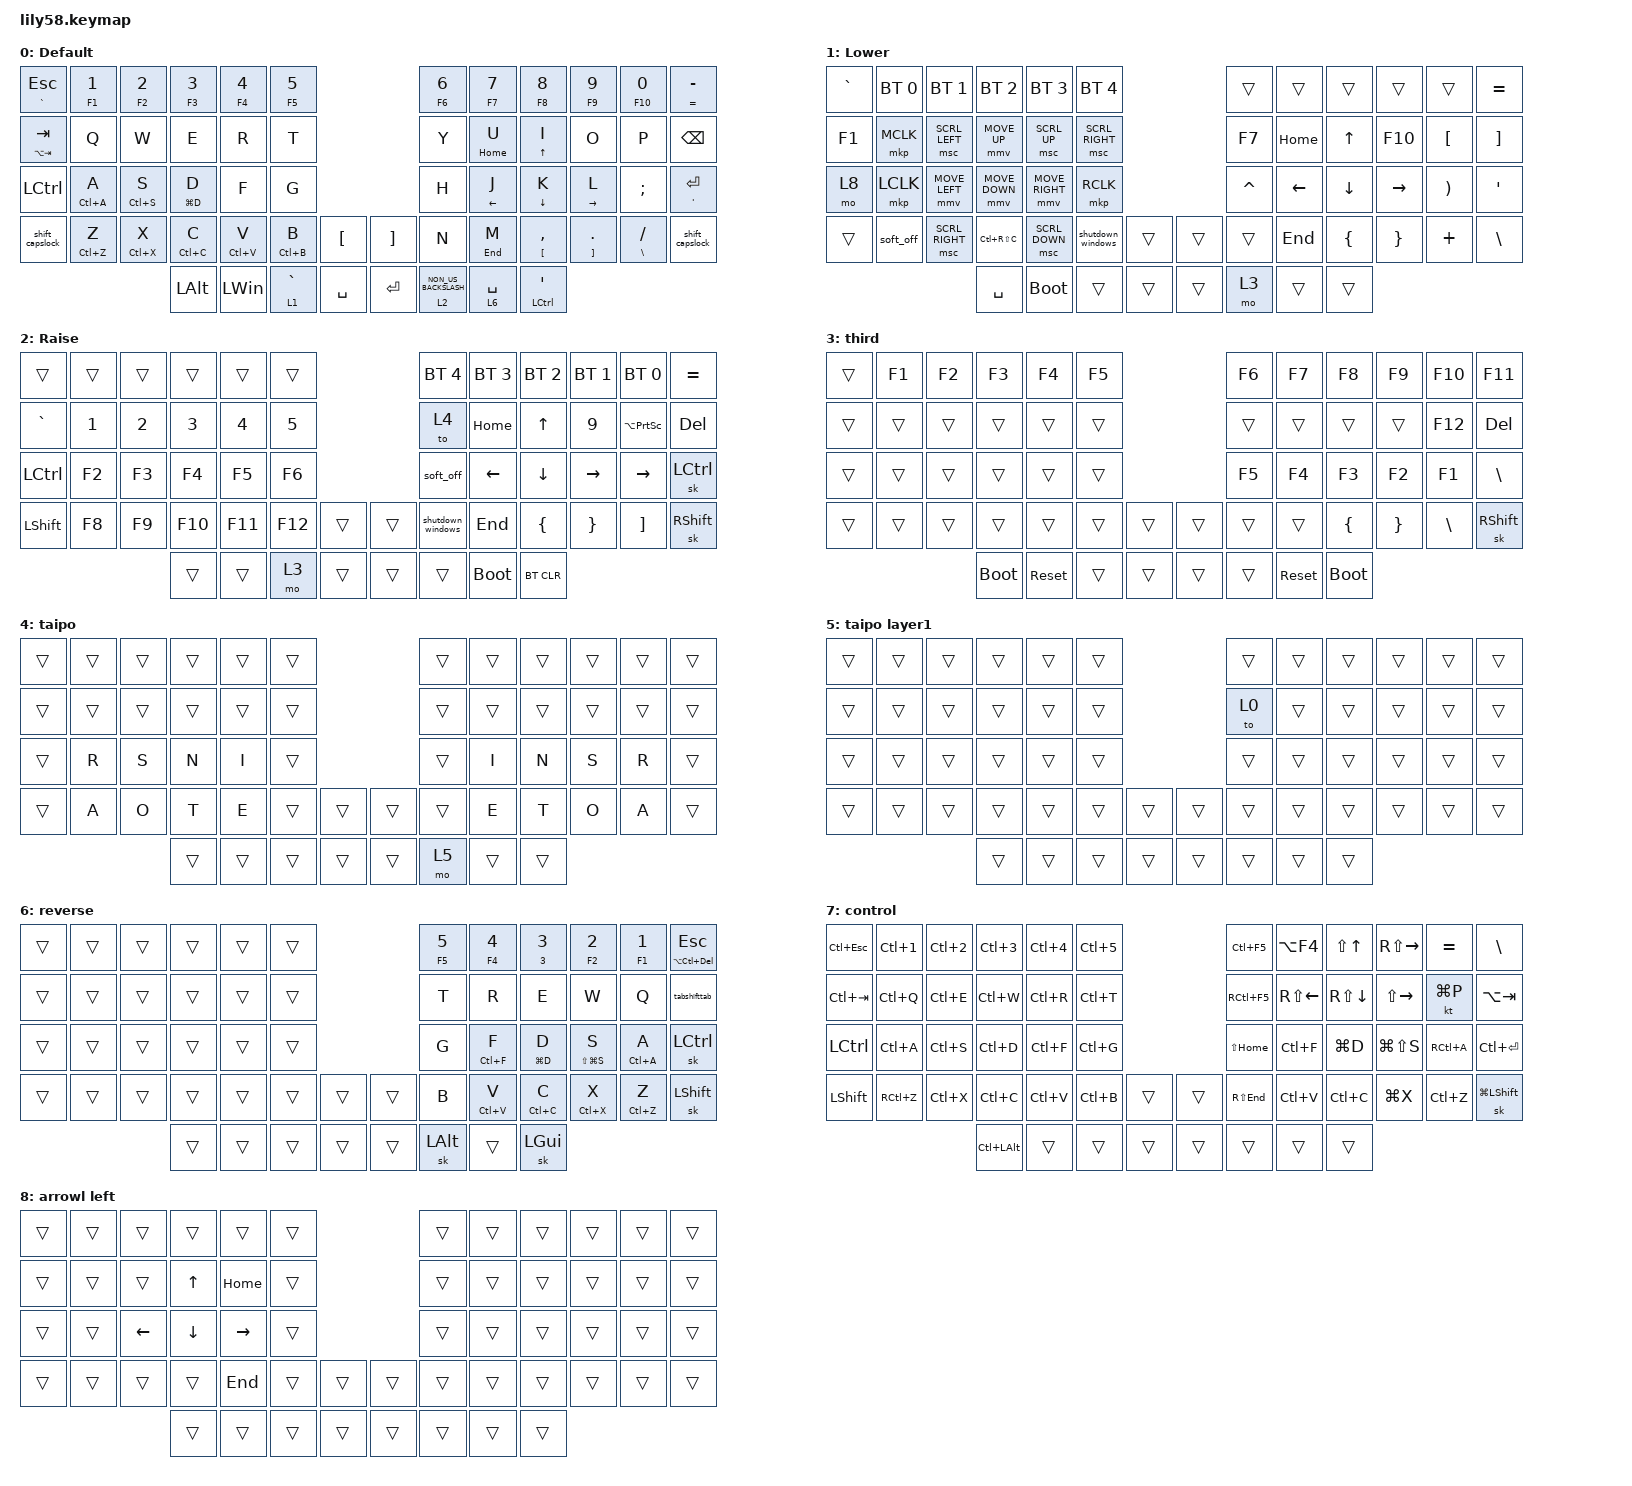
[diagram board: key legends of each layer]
/*
 * Copyright (c) 2020 The ZMK Contributors
 *
 * SPDX-License-Identifier: MIT
 */

#include <behaviors.dtsi>
#include <dt-bindings/zmk/bt.h>
#include <dt-bindings/zmk/keys.h>
#include <dt-bindings/zmk/pointing.h>

&sk { release-after-ms = <10000>; };

&mt {
    flavor = "tap-preferred";
    tapping-term-ms = <300>;
};

&lt { tapping-term-ms = <300>; };

/ {
    macros {
        shutdown_windows: shutdown_windows {
            compatible = "zmk,behavior-macro";
            #binding-cells = <0>;
            bindings = <&kp LG(X) &kp U &kp S>;
            label = "SHUTDOWN_WINDOWS";
            wait-ms = <100>;
        };
    };

    combos {
        compatible = "zmk,combos";

        combo_right {
            bindings = <&kp RIGHT>;
            key-positions = <28 27>;
            layers = <0>;
            require-prior-idle-ms = <300>;
        };

        combo_left {
            bindings = <&kp LEFT_ARROW>;
            key-positions = <26 27>;
            layers = <0>;
            require-prior-idle-ms = <300>;
        };

        combo_down {
            bindings = <&kp DOWN>;
            key-positions = <26 27 28>;
            layers = <0>;
            require-prior-idle-ms = <300>;
        };

        combo_up {
            bindings = <&kp UP_ARROW>;
            key-positions = <28 15>;
            layers = <0>;
            require-prior-idle-ms = <300>;
        };

        cb_home {
            bindings = <&kp HOME>;
            key-positions = <16 15>;
            layers = <0>;
            require-prior-idle-ms = <300>;
        };

        cb_end {
            bindings = <&kp END>;
            key-positions = <40 39>;
            layers = <0>;
            require-prior-idle-ms = <300>;
        };

        cb_left {
            bindings = <&kp LEFT>;
            key-positions = <31 32>;
            layers = <0>;
            require-prior-idle-ms = <300>;
        };

        cb_right {
            bindings = <&kp RIGHT>;
            key-positions = <33 32>;
            layers = <0>;
            require-prior-idle-ms = <300>;
        };

        cb_down {
            bindings = <&kp DOWN>;
            key-positions = <32 33 31>;
            layers = <0>;
            require-prior-idle-ms = <300>;
        };

        cb_up {
            bindings = <&kp UP_ARROW>;
            key-positions = <31 20>;
            layers = <0>;
            require-prior-idle-ms = <300>;
        };

        cb_home1 {
            bindings = <&kp HOME>;
            key-positions = <19 20>;
            layers = <0>;
            require-prior-idle-ms = <300>;
        };

        cb_end1 {
            bindings = <&kp END>;
            key-positions = <45 46>;
            layers = <0>;
            require-prior-idle-ms = <300>;
        };

        winshifts {
            bindings = <&kp LS(RG(S))>;
            key-positions = <25 26>;
            layers = <0>;
            require-prior-idle-ms = <500>;
        };

        cb_delete {
            bindings = <&kp DEL>;
            key-positions = <33 34>;
            layers = <0>;
        };

        indexquote {
            bindings = <&kp SINGLE_QUOTE>;
            key-positions = <35 31>;
            layers = <0>;
        };

        thumbquote {
            bindings = <&kp SINGLE_QUOTE>;
            key-positions = <35 56>;
            layers = <0>;
        };

        f11 {
            bindings = <&kp F11>;
            key-positions = <2 3>;
            layers = <0>;
        };

        f12 {
            bindings = <&kp F12>;
            key-positions = <3 4>;
            layers = <0>;
        };

        alttab {
            bindings = <&kp LA(TAB)>;
            key-positions = <50 12>;
            layers = <0>;
        };

        btclearleft {
            bindings = <&bt BT_CLR>;
            key-positions = <50 51 52>;
            layers = <0>;
        };

        btclearright {
            bindings = <&bt BT_CLR>;
            key-positions = <55 56 57>;
            layers = <0>;
        };

        cb_ctrl_alt_delete {
            bindings = <&kp LA(LC(DELETE))>;
            key-positions = <23 31>;
            layers = <0>;
        };

        cbwin_p {
            bindings = <&kp LG(P)>;
            key-positions = <31 22>;
            layers = <0>;
            require-prior-idle-ms = <125>;
        };

        shift_tab {
            bindings = <&kp LS(TAB)>;
            key-positions = <28 12>;
            require-prior-idle-ms = <125>;
            layers = <0>;
        };

        move_windows_left {
            bindings = <&kp LS(LG(LEFT))>;
            key-positions = <31 32>;
            layers = <2>;
        };

        move_windows_right {
            bindings = <&kp LS(LG(RIGHT))>;
            key-positions = <32 33>;
            layers = <2>;
        };
    };

    behaviors {
        backspace_delete: backspace_delete {
            compatible = "zmk,behavior-tap-dance";
            label = "BACKSPACE_DELETE";
            #binding-cells = <0>;
            bindings = <&kp BACKSPACE>, <&mt DELETE BACKSPACE>;
        };

        mouse_and_layer: mouse_and_layer {
            compatible = "zmk,behavior-hold-tap";
            label = "MOUSE_AND_LAYER";
            bindings = <&mo>, <&mkp>;

            #binding-cells = <2>;
            tapping-term-ms = <(-1)>;
            flavor = "tap-preferred";
        };

        shift_capslock: shift_capslock {
            compatible = "zmk,behavior-tap-dance";
            label = "SHIFT_CAPSLOCK";
            #binding-cells = <0>;
            bindings = <&kp LEFT_SHIFT>, <&kt CAPS>;
        };

        s_wins: s_wins {
            compatible = "zmk,behavior-tap-dance";
            label = "S_WINS";
            #binding-cells = <0>;
            bindings = <&mt LC(S) S>, <&mt LS(LG(S)) LS(LG(S))>;
        };

        tabshifttab: tabshifttab {
            compatible = "zmk,behavior-tap-dance";
            label = "TABSHIFTTAB";
            #binding-cells = <0>;
            bindings = <&mt LA(TAB) TAB>, <&mt LS(LA(TAB)) LS(TAB)>;
        };
    };

    keymap {
        compatible = "zmk,keymap";

        default_layer {
            display-name = "Default";

            // ------------------------------------------------------------------------------------------------------------
            // |  ESC  |  1  |  2  |  3   |  4   |  5   |                   |  6   |  7    |  8    |  9   |   0   |   `   |
            // |  TAB  |  Q  |  W  |  E   |  R   |  T   |                   |  Y   |  U    |  I    |  O   |   P   |   -   |
            // |  CTRL |  A  |  S  |  D   |  F   |  G   |                   |  H   |  J    |  K    |  L   |   ;   |   '   |
            // | SHIFT |  Z  |  X  |  C   |  V   |  B   |   "["  |  |  "]"  |  N   |  M    |  ,    |  .   |   /   | SHIFT |
            //                     | ALT  | GUI  | LOWER|  SPACE |  | ENTER | RAISE| BSPC  | GUI   |

            bindings = <
&mt GRAVE ESCAPE  &mt F1 NUMBER_1  &mt F2 NUMBER_2  &mt F3 NUMBER_3  &mt F4 NUMBER_4  &mt F5 N5                           &mt F6 NUMBER_6         &mt F7 N7         &mt F8 NUMBER_8         &mt F9 N9                 &mt F10 NUMBER_0     &mt EQUAL MINUS
&mt LA(TAB) TAB   &kp Q            &kp W            &kp E            &kp R            &kp T                               &kp Y                   &mt HOME U        &mt UP_ARROW I          &kp O                     &kp P                &kp BACKSPACE
&kp LCTRL         &mt LC(A) A      &mt LC(S) S      &mt LG(D) D      &kp F            &kp G                               &kp H                   &mt LEFT_ARROW J  &mt DOWN_ARROW K        &mt RIGHT L               &kp SEMI             &mt APOSTROPHE ENTER
&shift_capslock   &mt LC(Z) Z      &mt LC(X) X      &mt LC(C) C      &mt LC(V) V      &mt LC(B) B  &kp LBKT     &kp RBKT  &kp N                   &mt END M         &mt LEFT_BRACKET COMMA  &mt RIGHT_BRACKET PERIOD  &mt BACKSLASH SLASH  &shift_capslock
                                                    &kp LALT         &kp LEFT_WIN     &lt 1 GRAVE  &kp SPACE    &kp RET   &lt 2 NON_US_BACKSLASH  &lt 6 SPACE       &mt LEFT_CONTROL SQT
            >;
        };

        lower_layer {
            display-name = "Lower";

            // ------------------------------------------------------------------------------------------------------------
            // | BTCLR | BT1 | BT2 |  BT3 |  BT4 |  BT5 |                   |      |       |       |      |       |       |
            // |  F1   |  F2 |  F3 |  F4  |  F5  |  F6  |                   |  F7  |  F8   |  F9   |  F10 |  F11  |  F12  |
            // |   `   |  !  |  @  |  #   |  $   |  %   |                   |  ^   |  &    |  *    |  (   |   )   |   ~   |
            // |       |     |     |      |      |      |        |  |       |      |  _    |  +    |  {   |   }   |  "|"  |
            //                     |      |      |      |        |  |       |      |       |       |

            bindings = <
&kp GRAVE  &bt BT_SEL 0  &bt BT_SEL 1     &bt BT_SEL 2    &bt BT_SEL 3     &bt BT_SEL 4                         &trans     &trans    &trans          &trans           &trans            &kp EQUAL
&kp F1     &mkp MCLK     &msc SCRL_LEFT   &mmv MOVE_UP    &msc SCRL_UP     &msc SCRL_RIGHT                      &kp F7     &kp HOME  &kp UP_ARROW    &kp F10          &kp LEFT_BRACKET  &kp RIGHT_BRACKET
&mo 8      &mkp LCLK     &mmv MOVE_LEFT   &mmv MOVE_DOWN  &mmv MOVE_RIGHT  &mkp RCLK                            &kp CARET  &kp LEFT  &kp DOWN        &kp RIGHT        &kp RPAR          &kp SQT
&trans     &soft_off     &msc SCRL_RIGHT  &kp LC(RS(C))   &msc SCRL_DOWN   &shutdown_windows  &trans    &trans  &trans     &kp END   &kp LEFT_BRACE  &kp RIGHT_BRACE  &kp PLUS          &kp BACKSLASH
                                          &kp SPACE       &bootloader      &trans             &trans    &trans  &mo 3      &trans    &trans
            >;
        };

        raise_layer {
            display-name = "Raise";

            // ------------------------------------------------------------------------------------------------------------
            // |       |     |     |      |      |      |                   |      |       |       |      |       |       |
            // |   `   |  1  |  2  |  3   |  4   |  5   |                   |  6   |   7   |   8   |  9   |   0   |       |
            // |   F1  |  F2 |  F3 |  F4  |  F5  |  F6  |                   |      |   <-  |   v   |  ^   |  ->   |       |
            // |   F7  |  F8 |  F9 |  F10 |  F11 |  F12 |        |  |       |  +   |   -   |   =   |  [   |   ]   |   \   |
            //                     |      |      |      |        |  |       |      |       |       |

            bindings = <
&trans            &trans  &trans  &trans   &trans   &trans                     &bt BT_SEL 4       &bt BT_SEL 3  &bt BT_SEL 2    &bt BT_SEL 1     &bt BT_SEL 0         &kp EQUAL
&kp GRAVE         &kp N1  &kp N2  &kp N3   &kp N4   &kp N5                     &to 4              &kp HOME      &kp UP          &kp N9           &kp LA(PRINTSCREEN)  &kp DELETE
&kp LEFT_CONTROL  &kp F2  &kp F3  &kp F4   &kp F5   &kp F6                     &soft_off          &kp LEFT      &kp DOWN        &kp RIGHT        &kp RIGHT            &sk LEFT_CONTROL
&kp LEFT_SHIFT    &kp F8  &kp F9  &kp F10  &kp F11  &kp F12  &trans    &trans  &shutdown_windows  &kp END       &kp LEFT_BRACE  &kp RIGHT_BRACE  &kp RBKT             &sk RIGHT_SHIFT
                                  &trans   &trans   &mo 3    &trans    &trans  &trans             &bootloader   &bt BT_CLR
            >;
        };

        third {
            bindings = <
&trans  &kp F1  &kp F2  &kp F3       &kp F4      &kp F5                    &kp F6  &kp F7      &kp F8          &kp F9           &kp F10        &kp F11
&trans  &trans  &trans  &trans       &trans      &trans                    &trans  &trans      &trans          &trans           &kp F12        &kp DELETE
&trans  &trans  &trans  &trans       &trans      &trans                    &kp F5  &kp F4      &kp F3          &kp F2           &kp F1         &kp BACKSLASH
&trans  &trans  &trans  &trans       &trans      &trans  &trans    &trans  &trans  &trans      &kp LEFT_BRACE  &kp RIGHT_BRACE  &kp BACKSLASH  &sk RIGHT_SHIFT
                        &bootloader  &sys_reset  &trans  &trans    &trans  &trans  &sys_reset  &bootloader
            >;

            label = "third";
        };

        taipo {
            bindings = <
&trans  &trans  &trans  &trans  &trans  &trans                    &trans  &trans  &trans  &trans  &trans  &trans
&trans  &trans  &trans  &trans  &trans  &trans                    &trans  &trans  &trans  &trans  &trans  &trans
&trans  &kp R   &kp S   &kp N   &kp I   &trans                    &trans  &kp I   &kp N   &kp S   &kp R   &trans
&trans  &kp A   &kp O   &kp T   &kp E   &trans  &trans    &trans  &trans  &kp E   &kp T   &kp O   &kp A   &trans
                        &trans  &trans  &trans  &trans    &trans  &mo 5   &trans  &trans
            >;

            label = "taipo";
        };

        taipo_layer1 {
            bindings = <
&trans  &trans  &trans  &trans  &trans  &trans                    &trans  &trans  &trans  &trans  &trans  &trans
&trans  &trans  &trans  &trans  &trans  &trans                    &to 0   &trans  &trans  &trans  &trans  &trans
&trans  &trans  &trans  &trans  &trans  &trans                    &trans  &trans  &trans  &trans  &trans  &trans
&trans  &trans  &trans  &trans  &trans  &trans  &trans    &trans  &trans  &trans  &trans  &trans  &trans  &trans
                        &trans  &trans  &trans  &trans    &trans  &trans  &trans  &trans
            >;

            label = "taipo layer1";
        };

        reverse {
            bindings = <
&trans  &trans  &trans  &trans  &trans  &trans                    &mt F5 N5  &mt F4 NUMBER_4  &mt N3 NUMBER_3  &mt F2 NUMBER_2  &mt F1 NUMBER_1  &mt LA(LC(DELETE)) ESCAPE
&trans  &trans  &trans  &trans  &trans  &trans                    &kp T      &kp R            &kp E            &kp W            &kp Q            &tabshifttab
&trans  &trans  &trans  &trans  &trans  &trans                    &kp G      &mt LC(F) F      &mt LG(D) D      &mt LS(LG(S)) S  &mt LC(A) A      &sk LCTRL
&trans  &trans  &trans  &trans  &trans  &trans  &trans    &trans  &kp B      &mt LC(V) V      &mt LC(C) C      &mt LC(X) X      &mt LC(Z) Z      &sk LSHFT
                        &trans  &trans  &trans  &trans    &trans  &sk LALT   &trans           &sk LEFT_GUI
            >;

            label = "reverse";
        };

        control {
            bindings = <
&kp LC(ESCAPE)    &kp LC(NUMBER_1)  &kp LC(NUMBER_2)  &kp LC(NUMBER_3)  &kp LC(NUMBER_4)  &kp LC(N5)                    &kp LC(F5)    &kp LA(F4)    &kp LS(UP_ARROW)  &kp RS(RIGHT)  &kp EQUAL  &kp BACKSLASH
&kp LC(TAB)       &kp LC(Q)         &kp LC(E)         &kp LC(W)         &kp LC(R)         &kp LC(T)                     &kp RC(F5)    &kp RS(LEFT)  &kp RS(DOWN)      &kp LS(RIGHT)  &kt LG(P)  &kp LA(TAB)
&kp LEFT_CONTROL  &kp LC(A)         &kp LC(S)         &kp LC(D)         &kp LC(F)         &kp LC(G)                     &kp LS(HOME)  &kp LC(F)     &kp LG(D)         &kp LG(LS(S))  &kp RC(A)  &kp LC(ENTER)
&kp LEFT_SHIFT    &kp RC(Z)         &kp LC(X)         &kp LC(C)         &kp LC(V)         &kp LC(B)   &trans    &trans  &kp RS(END)   &kp LC(V)     &kp LC(C)         &kp LG(X)      &kp LC(Z)  &sk LG(LEFT_SHIFT)
                                                      &kp LC(LEFT_ALT)  &trans            &trans      &trans    &trans  &trans        &trans        &trans
            >;

            label = "control";
        };

        arrowleft {
            bindings = <
&trans  &trans  &trans    &trans        &trans     &trans                    &trans  &trans  &trans  &trans  &trans  &trans
&trans  &trans  &trans    &kp UP_ARROW  &kp HOME   &trans                    &trans  &trans  &trans  &trans  &trans  &trans
&trans  &trans  &kp LEFT  &kp DOWN      &kp RIGHT  &trans                    &trans  &trans  &trans  &trans  &trans  &trans
&trans  &trans  &trans    &trans        &kp END    &trans  &trans    &trans  &trans  &trans  &trans  &trans  &trans  &trans
                          &trans        &trans     &trans  &trans    &trans  &trans  &trans  &trans
            >;

            label = "arrowl left";
        };
    };
};
